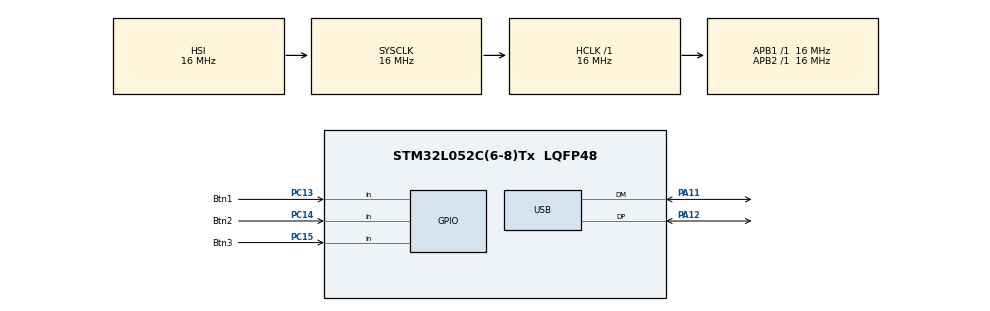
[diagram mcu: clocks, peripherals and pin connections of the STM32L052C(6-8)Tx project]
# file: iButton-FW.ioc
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Mcu.Family=STM32L0
Mcu.Name=STM32L052C(6-8)Tx
Mcu.Package=LQFP48
NVIC.USB_IRQn=true\:0\:0\:false\:false\:true\:false\:true\:true
PA11.Mode=Device
PA11.Signal=USB_DM
PA12.Mode=Device
PA12.Signal=USB_DP
PC13.GPIO_Label=Btn1
PC13.GPIO_PuPd=GPIO_PULLUP
PC13.Signal=GPIO_Input
PC14-OSC32_IN.GPIO_Label=Btn2
PC14-OSC32_IN.GPIO_PuPd=GPIO_PULLUP
PC14-OSC32_IN.Signal=GPIO_Input
PC15-OSC32_OUT.GPIO_Label=Btn3
PC15-OSC32_OUT.GPIO_PuPd=GPIO_PULLUP
PC15-OSC32_OUT.Signal=GPIO_Input
ProjectManager.HeapSize=0x200
ProjectManager.StackSize=0x400
ProjectManager.TargetToolchain=STM32CubeIDE
RCC.AHBFreq_Value=16000000
RCC.APB1Freq_Value=16000000
RCC.APB1TimFreq_Value=16000000
RCC.APB2Freq_Value=16000000
RCC.APB2TimFreq_Value=16000000
RCC.HCLKFreq_Value=16000000
RCC.HSE_VALUE=8000000
RCC.HSI16_VALUE=16000000
RCC.HSI48MClockSelection=RCC_USBCLKSOURCE_HSI48
RCC.HSI48_VALUE=48000000
RCC.HSI_VALUE=16000000
RCC.LSE_VALUE=32768
RCC.MSI_VALUE=2097000
RCC.PLLMUL=RCC_PLLMUL_6
RCC.SYSCLKFreq_VALUE=16000000
RCC.SYSCLKSource=RCC_SYSCLKSOURCE_HSI
RCC.VCOOutputFreq_Value=96000000
USB_DEVICE.CLASS_NAME_FS=HID
USB_DEVICE.VirtualMode=Hid
USB_DEVICE.VirtualModeFS=Hid_FS
VP_USB_DEVICE_VS_USB_DEVICE_HID_FS.Mode=HID_FS
board=custom

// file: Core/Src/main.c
/* USER CODE BEGIN Header */
/**
  ******************************************************************************
  * @file           : main.c
  * @brief          : Main program body
  ******************************************************************************
  * @attention
  *
  * Copyright (c) 2024 STMicroelectronics.
  * All rights reserved.
  *
  * This software is licensed under terms that can be found in the LICENSE file
  * in the root directory of this software component.
  * If no LICENSE file comes with this software, it is provided AS-IS.
  *
  ******************************************************************************
  */
/* USER CODE END Header */
#include "main.h"
#include "usb_device.h"

/* USER CODE BEGIN Includes */
#include "usbd_hid.h"
/* USER CODE END Includes */

void SystemClock_Config(void);
static void MX_GPIO_Init(void);

int main(void)
{

  /* MCU Configuration--------------------------------------------------------*/

  /* Reset of all peripherals, Initializes the Flash interface and the Systick. */
  HAL_Init();

  /* Configure the system clock */
  SystemClock_Config();

  /* USER CODE BEGIN SysInit */
  uint8_t buttonReport[5] = {0};
  uint8_t lastButtonReport[5] = {0};
  extern USBD_HandleTypeDef hUsbDeviceFS;
  //extern uint8_t USBD_HID_SendReport(USBD_HandleTypeDef *pdev, uint8_t *report, uint16_t len);
  HAL_Delay(500);
  /* USER CODE END SysInit */

  /* Initialize all configured peripherals */
  MX_GPIO_Init();
  MX_USB_DEVICE_Init();

  /* Infinite loop */
  /* USER CODE BEGIN WHILE */
  while (1)
  {
    if (HAL_GPIO_ReadPin(Btn1_GPIO_Port, Btn1_Pin) == GPIO_PIN_RESET) {
      mousekey_report[0] |= 1<<5;
    } else {
      mousekey_report[0] &= ~(1<<5);
    }

    if (HAL_GPIO_ReadPin(Btn2_GPIO_Port, Btn2_Pin) == GPIO_PIN_RESET) {
      mousekey_report[0] |= 1<<6;
    } else {
      mousekey_report[0] &= ~(1<<6);
    }

    if (HAL_GPIO_ReadPin(Btn3_GPIO_Port, Btn3_Pin) == GPIO_PIN_RESET) {
      mousekey_report[0] |= 1<<7;
    } else {
      mousekey_report[0] &= ~(1<<7);
    }

    if (buttonReport != lastButtonReport) {
        lastButtonReport = buttonReport;
        USBD_HID_SendReport(&hUsbDeviceFS, buttonReport, 5);
    }

    HAL_Delay(50);
    /* USER CODE END WHILE */

  }
}

void SystemClock_Config(void)
{
  RCC_OscInitTypeDef RCC_OscInitStruct = {0};
  RCC_ClkInitTypeDef RCC_ClkInitStruct = {0};
  RCC_PeriphCLKInitTypeDef PeriphClkInit = {0};

  /** Configure the main internal regulator output voltage
  */
  __HAL_PWR_VOLTAGESCALING_CONFIG(PWR_REGULATOR_VOLTAGE_SCALE1);

  /** Initializes the RCC Oscillators according to the specified parameters
  * in the RCC_OscInitTypeDef structure.
  */
  RCC_OscInitStruct.OscillatorType = RCC_OSCILLATORTYPE_HSI|RCC_OSCILLATORTYPE_HSI48;
  RCC_OscInitStruct.HSIState = RCC_HSI_ON;
  RCC_OscInitStruct.HSICalibrationValue = RCC_HSICALIBRATION_DEFAULT;
  RCC_OscInitStruct.HSI48State = RCC_HSI48_ON;
  RCC_OscInitStruct.PLL.PLLState = RCC_PLL_NONE;
  if (HAL_RCC_OscConfig(&RCC_OscInitStruct) != HAL_OK)
  {
    Error_Handler();
  }

  /** Initializes the CPU, AHB and APB buses clocks
  */
  RCC_ClkInitStruct.ClockType = RCC_CLOCKTYPE_HCLK|RCC_CLOCKTYPE_SYSCLK
                              |RCC_CLOCKTYPE_PCLK1|RCC_CLOCKTYPE_PCLK2;
  RCC_ClkInitStruct.SYSCLKSource = RCC_SYSCLKSOURCE_HSI;
  RCC_ClkInitStruct.AHBCLKDivider = RCC_SYSCLK_DIV1;
  RCC_ClkInitStruct.APB1CLKDivider = RCC_HCLK_DIV1;
  RCC_ClkInitStruct.APB2CLKDivider = RCC_HCLK_DIV1;

  if (HAL_RCC_ClockConfig(&RCC_ClkInitStruct, FLASH_LATENCY_0) != HAL_OK)
  {
    Error_Handler();
  }
  PeriphClkInit.PeriphClockSelection = RCC_PERIPHCLK_USB;
  PeriphClkInit.UsbClockSelection = RCC_USBCLKSOURCE_HSI48;
  if (HAL_RCCEx_PeriphCLKConfig(&PeriphClkInit) != HAL_OK)
  {
    Error_Handler();
  }
}

static void MX_GPIO_Init(void)
{
  GPIO_InitTypeDef GPIO_InitStruct = {0};

  /* GPIO Ports Clock Enable */
  __HAL_RCC_GPIOC_CLK_ENABLE();
  __HAL_RCC_GPIOA_CLK_ENABLE();

  /*Configure GPIO pins : Btn1_Pin Btn2_Pin Btn3_Pin */
  GPIO_InitStruct.Pin = Btn1_Pin|Btn2_Pin|Btn3_Pin;
  GPIO_InitStruct.Mode = GPIO_MODE_INPUT;
  GPIO_InitStruct.Pull = GPIO_PULLUP;
  HAL_GPIO_Init(GPIOC, &GPIO_InitStruct);

}

void Error_Handler(void)
{
  __disable_irq();
  while (1)
  {
  }
}
